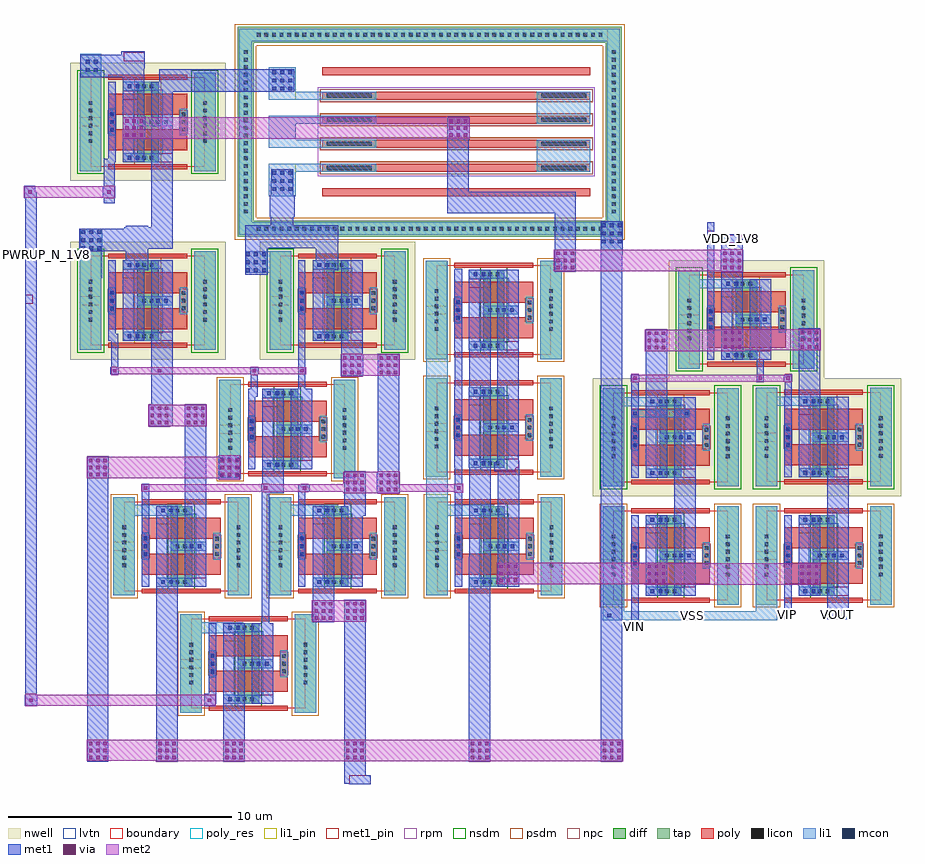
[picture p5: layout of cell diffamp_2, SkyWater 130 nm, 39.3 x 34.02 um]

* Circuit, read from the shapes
.subckt diffamp_2 PWRUP_1V8 PWRUP_N_1V8 VDD_1V8 VIN VIP VOUT VSS
XM1 GM_cell_N_5/LELOATR_LVT_NCH_2C5F0_2/D GM_cell_N_5/LELOATR_LVT_NCH_2C5F0_1/D VSS VSS sky130_fd_pr__nfet_01v8_lvt w=0.96 l=0.94 m=2
XM2 GM_cell_N_5/LELOATR_LVT_NCH_2C5F0_1/D PWRUP_N_1V8 VSS VSS sky130_fd_pr__nfet_01v8_lvt w=0.96 l=0.94 m=2
XM3 GM_cell_N_5/LELOATR_LVT_NCH_2C5F0_2/D GM_cell_N_5/LELOATR_LVT_NCH_2C5F0_2/D GM_cell_N_5/LELOATR_LVT_NCH_2C5F0_1/D VSS sky130_fd_pr__nfet_01v8_lvt w=0.96 l=0.94 m=2
XM4 GM_cell_N_5/LELOATR_LVT_NCH_2C5F0_1/D GM_cell_N_5/LELOATR_LVT_NCH_2C5F0_1/D VSS VSS sky130_fd_pr__nfet_01v8_lvt w=0.96 l=0.94 m=2
XM5 GM_cell_N_5/IBN GM_cell_N_5/LELOATR_LVT_NCH_2C5F0_1/D VSS VSS sky130_fd_pr__nfet_01v8_lvt w=0.96 l=0.94 m=6
XM6 LELOATR_LVT_NCH_2C5F0_0/D VIN GM_cell_N_5/IBN VSS sky130_fd_pr__nfet_01v8_lvt w=0.96 l=0.94 m=2
XM7 VOUT VIP GM_cell_N_5/IBN VSS sky130_fd_pr__nfet_01v8_lvt w=0.96 l=0.94 m=2
XM8 GM_cell_N_5/LELOATR_LVT_NCH_2C5F0_2/D GM_cell_N_5/LELOATR_LVT_NCH_2C5F0_2/D GM_cell_N_5/LELOATR_LVT_PCH_2C5F0_10/B GM_cell_N_5/LELOATR_LVT_PCH_2C5F0_10/B sky130_fd_pr__pfet_01v8_lvt w=0.96 l=0.94 m=2
XM9 GM_cell_N_5/LELOATR_LVT_PCH_2C5F0_10/B PWRUP_N_1V8 VDD_1V8 VDD_1V8 sky130_fd_pr__pfet_01v8_lvt w=0.96 l=0.94 m=2
XM10 GM_cell_N_5/LELOATR_LVT_NCH_2C5F0_1/D GM_cell_N_5/LELOATR_LVT_NCH_2C5F0_2/D GM_cell_N_5/LELOATR_LVT_PCH_2C5F0_8/B GM_cell_N_5/LELOATR_LVT_PCH_2C5F0_8/B sky130_fd_pr__pfet_01v8_lvt w=0.96 l=0.94 m=2
XM11 LELOATR_LVT_NCH_2C5F0_0/D LELOATR_LVT_NCH_2C5F0_0/D VDD_1V8 VDD_1V8 sky130_fd_pr__pfet_01v8_lvt w=0.96 l=0.94 m=2
XM12 LELOATR_LVT_NCH_2C5F0_0/D PWRUP_1V8 VDD_1V8 VDD_1V8 sky130_fd_pr__pfet_01v8_lvt w=0.96 l=0.94 m=2
XM13 VOUT LELOATR_LVT_NCH_2C5F0_0/D VDD_1V8 VDD_1V8 sky130_fd_pr__pfet_01v8_lvt w=0.96 l=0.94 m=2
XR14 n1 GM_cell_N_5/LELOATR_LVT_PCH_2C5F0_8/B VSS sky130_fd_pr__res_high_po w=0.36 l=7.24
XR15 n1 n2 VSS sky130_fd_pr__res_high_po w=0.36 l=7.24
XR16 n3 n2 VSS sky130_fd_pr__res_high_po w=0.36 l=7.24
XR17 n3 GM_cell_N_5/LELOATR_LVT_PCH_2C5F0_10/B VSS sky130_fd_pr__res_high_po w=0.36 l=7.24
.ends

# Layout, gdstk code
from math import pi, radians
import gdstk
lib = gdstk.Library(unit=1e-6, precision=1e-09)
def R(c, l, rs):  # rectangles x0, y0, x1, y1
    for r in rs: c.add(gdstk.rectangle(r[:2], r[2:], *l))
def A(c, l, x, y, w, h, nx, ny, dx, dy):  # array of equal rectangles
    R(c, l, [(x+i*dx, y+j*dy, x+i*dx+w, y+j*dy+h) for i in range(nx) for j in range(ny)])
nwell = (64, 20)
diff = (65, 20)
tap = (65, 44)
poly_res = (66, 13)
poly = (66, 20)
licon = (66, 44)
li1_pin = (67, 16)
li1 = (67, 20)
mcon = (67, 44)
met1_pin = (68, 16)
met1 = (68, 20)
via = (68, 44)
met2 = (69, 20)
rpm = (86, 20)
nsdm = (93, 44)
psdm = (94, 20)
npc = (95, 20)
lvtn = (125, 44)
boundary = (235, 4)

leloatr_lvt_nch_2c5f0 = lib.new_cell('LELOATR_LVT_NCH_2C5F0')
R(leloatr_lvt_nch_2c5f0, diff, [(2.08,0.2,3.04,3.8)])
R(leloatr_lvt_nch_2c5f0, tap, [(-0.48,-0.2,0.48,4.2), (4.64,-0.2,5.6,4.2)])
R(leloatr_lvt_nch_2c5f0, poly, [(0.8,-0.11,4.32,0.11), (0.8,0.73,4.32,1.67), (0.8,1.67,1.12,2.33), (4,1.67,4.32,2.33), (0.8,2.33,4.32,3.27), (0.8,3.89,4.32,4.11)])
A(leloatr_lvt_nch_2c5f0, licon, 2.305, 0.315, 0.17, 0.17, 1, 3, 0, 1.6)
A(leloatr_lvt_nch_2c5f0, licon, 2.645, 0.315, 0.17, 0.17, 1, 3, 0, 1.6)
A(leloatr_lvt_nch_2c5f0, licon, -0.085, 1.065, 0.17, 0.17, 1, 6, 0, 0.34)
A(leloatr_lvt_nch_2c5f0, licon, 5.035, 1.065, 0.17, 0.17, 1, 6, 0, 0.34)
A(leloatr_lvt_nch_2c5f0, licon, 0.875, 1.575, 0.17, 0.17, 1, 3, 0, 0.34)
A(leloatr_lvt_nch_2c5f0, licon, 4.075, 1.575, 0.17, 0.17, 1, 3, 0, 0.34)
R(leloatr_lvt_nch_2c5f0, li1_pin, [(-0.48,1.8,0.48,2.2)])
R(leloatr_lvt_nch_2c5f0, li1, [(-0.48,-0.2,0.48,4.2), (4.64,-0.2,5.6,4.2), (1.44,0.2,3.04,0.6), (0.8,1.4,1.12,2.6), (4,1.4,4.32,2.6), (2.08,1.8,3.68,2.2), (1.44,3.4,3.04,3.8)])
A(leloatr_lvt_nch_2c5f0, mcon, 0.875, 1.555, 0.17, 0.17, 1, 3, 0, 0.36)
R(leloatr_lvt_nch_2c5f0, mcon, [(1.655,0.315,1.825,0.485), (2.015,0.315,2.185,0.485), (2.935,1.915,3.105,2.085), (3.295,1.915,3.465,2.085), (1.655,3.515,1.825,3.685), (2.015,3.515,2.185,3.685)])
R(leloatr_lvt_nch_2c5f0, met1_pin, [(2.72,0.2,3.68,0.6), (0.8,1.8,1.12,2.2), (1.44,3,2.4,3.4)])
R(leloatr_lvt_nch_2c5f0, met1, [(0.8,0.2,1.12,3.8), (1.44,0.2,2.4,3.8), (2.72,0.2,3.68,3.8)])
R(leloatr_lvt_nch_2c5f0, nsdm, [(1.955,0.075,3.165,3.925)])
R(leloatr_lvt_nch_2c5f0, psdm, [(-0.605,-0.325,0.605,4.325), (4.515,-0.325,5.725,4.325)])
R(leloatr_lvt_nch_2c5f0, npc, [(0.775,1.475,1.145,2.525), (3.975,1.475,4.345,2.525)])
R(leloatr_lvt_nch_2c5f0, lvtn, [(1.9,0.55,3.22,3.45)])
R(leloatr_lvt_nch_2c5f0, boundary, [(0,0,5.12,4)])
leloatr_lvt_nch_2c5f0.add(gdstk.Label('D', (3.2,0.4), layer=68, texttype=5))
leloatr_lvt_nch_2c5f0.add(gdstk.Label('G', (0.96,2), layer=68, texttype=5))
leloatr_lvt_nch_2c5f0.add(gdstk.Label('S', (1.92,3.2), layer=68, texttype=5))
leloatr_lvt_nch_2c5f0.add(gdstk.Label('B', (0,2), layer=67, texttype=5))

leloatr_lvt_pch_2c5f0 = lib.new_cell('LELOATR_LVT_PCH_2C5F0')
R(leloatr_lvt_pch_2c5f0, nwell, [(-0.92,-0.64,6.04,4.64)])
R(leloatr_lvt_pch_2c5f0, diff, [(2.08,0.2,3.04,3.8)])
R(leloatr_lvt_pch_2c5f0, tap, [(-0.48,-0.2,0.48,4.2), (4.64,-0.2,5.6,4.2)])
R(leloatr_lvt_pch_2c5f0, poly, [(0.8,-0.11,4.32,0.11), (0.8,0.73,4.32,1.67), (0.8,1.67,1.12,2.33), (4,1.67,4.32,2.33), (0.8,2.33,4.32,3.27), (0.8,3.89,4.32,4.11)])
A(leloatr_lvt_pch_2c5f0, licon, 2.305, 0.315, 0.17, 0.17, 1, 3, 0, 1.6)
A(leloatr_lvt_pch_2c5f0, licon, 2.645, 0.315, 0.17, 0.17, 1, 3, 0, 1.6)
A(leloatr_lvt_pch_2c5f0, licon, -0.085, 1.065, 0.17, 0.17, 1, 6, 0, 0.34)
A(leloatr_lvt_pch_2c5f0, licon, 5.035, 1.065, 0.17, 0.17, 1, 6, 0, 0.34)
A(leloatr_lvt_pch_2c5f0, licon, 0.875, 1.575, 0.17, 0.17, 1, 3, 0, 0.34)
A(leloatr_lvt_pch_2c5f0, licon, 4.075, 1.575, 0.17, 0.17, 1, 3, 0, 0.34)
R(leloatr_lvt_pch_2c5f0, li1_pin, [(-0.48,1.8,0.48,2.2)])
R(leloatr_lvt_pch_2c5f0, li1, [(-0.48,-0.2,0.48,4.2), (4.64,-0.2,5.6,4.2), (1.44,0.2,3.04,0.6), (0.8,1.4,1.12,2.6), (4,1.4,4.32,2.6), (2.08,1.8,3.68,2.2), (1.44,3.4,3.04,3.8)])
A(leloatr_lvt_pch_2c5f0, mcon, 0.875, 1.555, 0.17, 0.17, 1, 3, 0, 0.36)
R(leloatr_lvt_pch_2c5f0, mcon, [(1.655,0.315,1.825,0.485), (2.015,0.315,2.185,0.485), (2.935,1.915,3.105,2.085), (3.295,1.915,3.465,2.085), (1.655,3.515,1.825,3.685), (2.015,3.515,2.185,3.685)])
R(leloatr_lvt_pch_2c5f0, met1_pin, [(2.72,0.2,3.68,0.6), (0.8,1.8,1.12,2.2), (1.44,3,2.4,3.4)])
R(leloatr_lvt_pch_2c5f0, met1, [(0.8,0.2,1.12,3.8), (1.44,0.2,2.4,3.8), (2.72,0.2,3.68,3.8)])
R(leloatr_lvt_pch_2c5f0, nsdm, [(-0.605,-0.325,0.605,4.325), (4.515,-0.325,5.725,4.325)])
R(leloatr_lvt_pch_2c5f0, psdm, [(1.955,0.075,3.165,3.925)])
R(leloatr_lvt_pch_2c5f0, npc, [(0.775,1.475,1.145,2.525), (3.975,1.475,4.345,2.525)])
R(leloatr_lvt_pch_2c5f0, lvtn, [(1.9,0.55,3.22,3.45)])
R(leloatr_lvt_pch_2c5f0, boundary, [(0,0,5.12,4)])
leloatr_lvt_pch_2c5f0.add(gdstk.Label('D', (3.2,0.4), layer=68, texttype=5))
leloatr_lvt_pch_2c5f0.add(gdstk.Label('G', (0.96,2), layer=68, texttype=5))
leloatr_lvt_pch_2c5f0.add(gdstk.Label('S', (1.92,3.2), layer=68, texttype=5))
leloatr_lvt_pch_2c5f0.add(gdstk.Label('B', (0,2), layer=67, texttype=5))

jnwtr_res4 = lib.new_cell('JNWTR_RES4')
A(jnwtr_res4, poly_res, 0.9, 1.72, 0.36, 7.36, 4, 1, 1.08, 0)
A(jnwtr_res4, poly, -0.18, -0.6, 0.36, 12, 6, 1, 1.08, 0)
A(jnwtr_res4, licon, 0.985, -0.4, 0.19, 2, 4, 2, 1.08, 9.6)
R(jnwtr_res4, li1_pin, [(-0.18,12.6,1.26,13.8), (4.14,12.6,5.58,13.8)])
A(jnwtr_res4, li1, 0.9, 9, 0.36, 3.6, 4, 1, 1.08, 0)
A(jnwtr_res4, li1, -0.18, 12.6, 1.44, 1.2, 3, 1, 2.16, 0)
R(jnwtr_res4, li1, [(0.9,-0.6,2.34,1.8), (3.06,-0.6,4.5,1.8)])
R(jnwtr_res4, rpm, [(0.7,-0.8,4.7,11.6)])
A(jnwtr_res4, psdm, 0.79, -0.71, 0.58, 12.22, 4, 1, 1.08, 0)
A(jnwtr_res4, npc, 0.805, -0.695, 0.55, 12.19, 4, 1, 1.08, 0)
R(jnwtr_res4, boundary, [(0,0,5.4,13.2)])
jnwtr_res4.add(gdstk.Label('N', (0.54,13.2), layer=67, texttype=5))
jnwtr_res4.add(gdstk.Label('P', (4.86,13.2), layer=67, texttype=5))

jnwtr_rppo4 = lib.new_cell('JNWTR_RPPO4')
R(jnwtr_rppo4, tap, [(0,0,9.4,0.72), (0,0.72,0.72,16.48), (8.68,0.72,9.4,16.48), (0,16.48,9.4,17.2)])
A(jnwtr_rppo4, licon, 1.045, 0.275, 0.17, 0.17, 22, 2, 0.34, 16.48)
A(jnwtr_rppo4, licon, 0.275, 0.865, 0.17, 0.17, 1, 46, 0, 0.34)
A(jnwtr_rppo4, licon, 8.955, 0.865, 0.17, 0.17, 1, 46, 0, 0.34)
R(jnwtr_rppo4, li1_pin, [(0.08,0.08,9.32,0.64), (1.82,14.6,3.26,15.8), (6.14,14.6,7.58,15.8)])
R(jnwtr_rppo4, li1, [(0.08,0.08,9.32,0.64), (0.08,0.64,0.64,16.56), (8.76,0.64,9.32,16.56), (1.82,14.6,3.26,15.8), (6.14,14.6,7.58,15.8), (0.08,16.56,9.32,17.12)])
R(jnwtr_rppo4, psdm, [(-0.125,-0.125,9.525,0.845), (-0.125,0.845,0.845,16.355), (8.555,0.845,9.525,16.355), (-0.125,16.355,9.525,17.325)])
R(jnwtr_rppo4, boundary, [(0,0,9.4,17.2)])
jnwtr_rppo4.add(gdstk.Reference(jnwtr_res4, (2,2)))
jnwtr_rppo4.add(gdstk.Label('P', (6.86,15.2), layer=67, texttype=5))
jnwtr_rppo4.add(gdstk.Label('N', (2.54,15.2), layer=67, texttype=5))
jnwtr_rppo4.add(gdstk.Label('B', (4.7,0.36), layer=67, texttype=5))

gm_cell_n = lib.new_cell('GM_cell_N')
R(gm_cell_n, li1, [(24.5,31.25,26.75,31.75), (34.95,36.38,35.91,36.5), (21.5,36.5,24,37), (28.5,36.5,31,37), (34.95,36.5,38,37), (34.95,37,35.91,47.9), (25.69,38.19,26.59,39.15), (19.45,47.15,20.45,49.35), (26.87,47.38,28.9,48.34), (42.75,48.4,43.75,49.65), (28.03,51.03,28.97,51.97), (28.03,55.53,28.97,56.47), (19.45,56.15,20.4,57.2)])
A(gm_cell_n, mcon, 25.695, 38.225, 0.17, 0.17, 3, 3, 0.36, 0.36)
A(gm_cell_n, mcon, 26.875, 47.415, 0.17, 0.17, 3, 3, 0.36, 0.36)
A(gm_cell_n, mcon, 19.505, 48.405, 0.17, 0.17, 3, 3, 0.36, 0.36)
A(gm_cell_n, mcon, 42.805, 48.705, 0.17, 0.17, 3, 3, 0.36, 0.36)
A(gm_cell_n, mcon, 28.055, 51.055, 0.17, 0.17, 3, 3, 0.36, 0.36)
A(gm_cell_n, mcon, 28.055, 55.555, 0.17, 0.17, 3, 3, 0.36, 0.36)
R(gm_cell_n, mcon, [(19.71,56.385,19.88,56.555), (20.07,56.385,20.24,56.555), (19.71,56.745,19.88,56.915), (20.07,56.745,20.24,56.915)])
R(gm_cell_n, met1_pin, [(31.5,24.5,32.46,24.9), (38,38.5,38.96,38.9), (17,46,17.32,46.4), (21.4,56.85,22.35,57.25)])
R(gm_cell_n, met1, [(31.5,24.5,32.46,24.52), (31.27,24.52,32.46,24.9), (31.27,24.9,32.23,32.76), (22.86,25.49,23.82,34.66), (25.86,25.49,26.82,29.41), (36.86,25.49,37.82,34.66), (42.77,25.49,43.73,48.15), (19.78,25.5,20.72,38.16), (25,27.97,25.5,28.53), (16.97,28,17.53,28.5), (17,28.5,17.5,50.72), (27.59,31.34,27.91,37.52), (29.86,31.74,30.82,34.66), (36.87,35.22,37.83,47.41), (24.14,35.98,25.1,41.51), (38.14,35.98,39.1,38.5), (29.22,36.04,29.54,37.59), (36.23,36.1,36.55,37.55), (31.27,36.52,32.23,38.51), (22.22,36.66,22.54,37.94), (27.59,37.52,28.57,37.59), (32.74,37.52,33.76,38.48), (36.2,37.55,36.6,37.95), (27.56,37.59,28.57,37.91), (29.22,37.59,29.69,37.6), (29.22,37.6,29.73,37.92), (27.61,37.91,28.57,39.91), (36.23,37.95,36.55,47.56), (25.66,38.13,26.62,38.16), (19.77,38.16,20.73,39.18), (25.63,38.16,26.65,39.18), (32.77,38.48,33.73,43.76), (38,38.5,39.1,38.9), (38.14,38.9,39.1,38.98), (25.66,39.18,26.62,39.21), (22.52,40.49,23.48,40.52), (22.52,40.52,23.6,41.51), (38.13,40.77,39.09,47.46), (22.64,41.51,23.6,45.48), (27.09,41.84,27.41,42.84), (29.22,41.84,29.54,44.66), (31.11,42.77,32.13,43.73), (20.81,42.84,21.19,43.16), (27.06,42.84,27.44,43.16), (20.84,43.16,21.16,44.66), (31.14,43.73,32.1,45.3), (26.845,47.295,27.86,47.32), (26.84,47.32,27.86,48.4), (21.5,47.5,22.5,48.35), (30,47.5,31,48.495), (42.75,48.15,43.75,49.7), (19.42,48.35,22.5,48.47), (26.845,48.4,27.86,48.495), (19.42,48.47,23.6,49.35), (26.845,48.495,31.005,49.51), (21.42,49.35,23.6,49.43), (21.5,49.43,22.5,49.5), (22.64,49.43,23.6,53.58), (27.985,49.51,29,49.9), (27.95,49.9,29.05,50.85), (20.5,50.5,21,50.75), (16.95,50.72,17.5,51), (20.47,50.75,21.03,51.25), (27.985,50.85,29,51.485), (16.95,51,17.45,51.28), (20.5,51.25,21,52.5), (28,51.485,29,52.03), (21.36,54.42,22.32,56.15), (23,55.5,29.03,56.5), (19.45,56.15,22.32,56.55), (19.45,56.55,22.35,57.15), (21.3,57.15,22.35,57.3)])
A(gm_cell_n, via, 19.855, 25.605, 0.15, 0.15, 3, 3, 0.32, 0.32)
A(gm_cell_n, via, 22.945, 25.605, 0.15, 0.15, 3, 3, 0.32, 0.32)
A(gm_cell_n, via, 25.945, 25.605, 0.15, 0.15, 3, 3, 0.32, 0.32)
A(gm_cell_n, via, 31.355, 25.605, 0.15, 0.15, 3, 3, 0.32, 0.32)
A(gm_cell_n, via, 36.945, 25.605, 0.15, 0.15, 3, 3, 0.32, 0.32)
A(gm_cell_n, via, 42.855, 25.605, 0.15, 0.15, 3, 3, 0.32, 0.32)
A(gm_cell_n, via, 29.945, 31.855, 0.15, 0.15, 3, 3, 0.32, 0.32)
A(gm_cell_n, via, 31.355, 31.855, 0.15, 0.15, 3, 3, 0.32, 0.32)
A(gm_cell_n, via, 31.355, 37.605, 0.15, 0.15, 3, 3, 0.32, 0.32)
A(gm_cell_n, via, 32.855, 37.605, 0.15, 0.15, 3, 3, 0.32, 0.32)
A(gm_cell_n, via, 19.855, 38.275, 0.15, 0.15, 3, 3, 0.32, 0.32)
A(gm_cell_n, via, 25.745, 38.275, 0.15, 0.15, 3, 3, 0.32, 0.32)
A(gm_cell_n, via, 22.605, 40.605, 0.15, 0.15, 3, 3, 0.32, 0.32)
A(gm_cell_n, via, 24.225, 40.605, 0.15, 0.15, 3, 3, 0.32, 0.32)
A(gm_cell_n, via, 31.225, 42.855, 0.15, 0.15, 3, 3, 0.32, 0.32)
A(gm_cell_n, via, 32.855, 42.855, 0.15, 0.15, 3, 3, 0.32, 0.32)
R(gm_cell_n, via, [(17.175,28.175,17.325,28.325), (25.175,28.175,25.325,28.325), (22.305,37.675,22.455,37.825), (27.675,37.675,27.825,37.825), (29.425,37.675,29.575,37.825), (36.325,37.675,36.475,37.825), (20.925,42.925,21.075,43.075), (22.925,42.925,23.075,43.075), (27.175,42.925,27.325,43.075), (29.305,42.925,29.455,43.075), (17.125,50.925,17.275,51.075), (20.675,50.925,20.825,51.075)])
R(gm_cell_n, met2, [(22.83,25.52,43.76,25.53), (19.75,25.53,43.76,26.47), (22.83,26.47,43.76,26.48), (17,27.97,17.5,28), (17,28,25.53,28.5), (17,28.5,17.5,28.53), (29.83,31.77,32.26,32.73), (32.77,37.49,33.73,37.52), (31.24,37.52,33.73,37.59), (36.2,37.55,36.6,37.59), (27.59,37.56,27.91,37.59), (29.34,37.56,29.66,37.59), (22.19,37.59,36.6,37.91), (27.59,37.91,27.91,37.94), (29.34,37.91,29.66,37.94), (31.24,37.91,33.73,38.48), (36.2,37.91,36.6,37.95), (25.66,38.13,26.62,38.19), (19.74,38.19,26.62,39.15), (32.77,38.48,33.73,38.51), (25.66,39.15,26.62,39.21), (22.49,40.52,25.13,41.48), (31.14,42.74,32.1,42.77), (31.14,42.77,33.76,43.73), (20.84,42.81,21.16,42.84), (27.09,42.81,27.41,42.84), (20.84,42.84,29.57,43.16), (20.84,43.16,21.16,43.19), (27.09,43.16,27.41,43.19), (31.14,43.73,32.1,43.76), (20.5,50.72,21,50.75), (16.92,50.75,21,51.25), (20.5,51.25,21,51.28)])
gm_cell_n.add(gdstk.Reference(jnwtr_rppo4, (43.7,49), rotation=pi/2))
gm_cell_n.add(gdstk.Reference(leloatr_lvt_nch_2c5f0, (24.42,27.89)))
gm_cell_n.add(gdstk.Reference(leloatr_lvt_nch_2c5f0, (21.42,33.14)))
gm_cell_n.add(gdstk.Reference(leloatr_lvt_nch_2c5f0, (28.42,33.14)))
gm_cell_n.add(gdstk.Reference(leloatr_lvt_nch_2c5f0, (26.17,38.39)))
gm_cell_n.add(gdstk.Reference(leloatr_lvt_nch_2c5f0, (35.43,33.14)))
gm_cell_n.add(gdstk.Reference(leloatr_lvt_nch_2c5f0, (35.41,38.46)))
gm_cell_n.add(gdstk.Reference(leloatr_lvt_nch_2c5f0, (35.41,43.72)))
gm_cell_n.add(gdstk.Reference(leloatr_lvt_pch_2c5f0, (28.42,44.14)))
gm_cell_n.add(gdstk.Reference(leloatr_lvt_pch_2c5f0, (19.92,52.14)))
gm_cell_n.add(gdstk.Reference(leloatr_lvt_pch_2c5f0, (19.92,44.14)))
gm_cell_n.add(gdstk.Label('VDD_1V8', (21.875,57.05), layer=68, texttype=5))
gm_cell_n.add(gdstk.Label('IBN', (38.48,38.7), layer=68, texttype=5))
gm_cell_n.add(gdstk.Label('VSS', (31.98,24.7), layer=68, texttype=5))
gm_cell_n.add(gdstk.Label('PWRUP_N_1V8', (17.16,46.2), layer=68, texttype=5))

diffamp_2 = lib.new_cell('diffamp_2')
R(diffamp_2, li1_pin, [(-4.46,51.35,-3.5,51.75)])
R(diffamp_2, li1, [(-7.98,51.35,-0.17,51.75), (-7.98,51.75,-7.02,53), (-1.13,51.75,-0.17,53), (-6.7,60.44,-4.1,60.76), (-7.06,60.93,-5.98,61.33), (-0.28,60.94,0.88,61.34), (-3.73,66.21,-2.55,66.61)])
R(diffamp_2, mcon, [(-7.775,51.465,-7.605,51.635), (-6.625,60.515,-6.455,60.685), (-4.315,60.515,-4.145,60.685)])
R(diffamp_2, met1_pin, [(-6.7,50.88,-6.38,51.28), (0.15,51.39,0.47,51.79), (2.07,51.39,3.03,51.79), (-33.69,67.52,-33.37,67.92), (-2.69,68.21,-1.73,68.61), (-3.3,68.76,-2.98,69.16)])
R(diffamp_2, met1, [(-6.7,50.88,-6.38,52.76), (-7.89,51.29,-7.49,51.81), (0.15,51.39,0.47,52.78), (2.07,51.39,3.03,53.4), (-6.06,52.91,-5.1,53.93), (0.78,52.91,1.74,53.93), (-12.69,52.93,-11.73,53.95), (2.075,54.825,3.025,58.835), (-4.78,55.14,-3.82,58.79), (-6.06,59.53,-5.1,64.38), (0.79,59.8,1.75,64.41), (-4.39,60.38,-4.07,60.82), (-6.7,60.41,-6.38,60.79), (-6.7,60.94,-6.38,62.02), (0.16,60.98,0.48,62.02), (-1.09,61.99,-0.77,63.31), (-6.73,62.02,-6.35,62.34), (0.13,62.02,0.51,62.34), (-2.66,63.39,-1.7,64.41), (-2.67,64.97,-1.71,66.97), (-3.31,65.75,-2.99,68.76), (-10.14,66.94,-9.18,69.56), (-2.7,66.97,-1.68,67.93), (-33.69,67.52,-33.37,67.92), (-2.67,67.93,-1.71,68.21), (-2.69,68.21,-1.71,68.61), (-2.67,68.61,-1.71,68.62), (-3.31,68.76,-2.98,68.79), (-3.3,68.79,-2.98,69.16), (-14.95,69.56,-9.18,70.52), (-14.95,70.52,-13.99,72.87), (-29.445,72.865,-28.47,73.9), (-14.95,72.87,-13.94,73.87), (-14.93,73.87,-13.97,73.89)])
A(diffamp_2, via, -5.975, 53.025, 0.15, 0.15, 3, 3, 0.32, 0.32)
A(diffamp_2, via, 0.865, 53.025, 0.15, 0.15, 3, 3, 0.32, 0.32)
A(diffamp_2, via, -12.605, 53.045, 0.15, 0.15, 3, 3, 0.32, 0.32)
A(diffamp_2, via, -5.975, 63.475, 0.15, 0.15, 3, 3, 0.32, 0.32)
A(diffamp_2, via, -2.575, 63.505, 0.15, 0.15, 3, 3, 0.32, 0.32)
A(diffamp_2, via, 0.875, 63.505, 0.15, 0.15, 3, 3, 0.32, 0.32)
A(diffamp_2, via, -10.055, 67.055, 0.15, 0.15, 3, 3, 0.32, 0.32)
A(diffamp_2, via, -2.585, 67.055, 0.15, 0.15, 3, 3, 0.32, 0.32)
A(diffamp_2, via, -29.355, 72.985, 0.15, 0.15, 3, 3, 0.32, 0.32)
A(diffamp_2, via, -14.845, 72.985, 0.15, 0.15, 3, 3, 0.32, 0.32)
R(diffamp_2, via, [(-6.615,62.105,-6.465,62.255), (-1.005,62.105,-0.855,62.255), (0.245,62.105,0.395,62.255)])
R(diffamp_2, met2, [(-6.09,52.94,1.77,52.96), (-12.72,52.96,1.77,53.9), (-12.72,53.9,-5.08,53.92), (-6.7,61.99,-6.38,62.02), (0.16,61.99,0.48,62.02), (-6.7,62.02,0.48,62.34), (-6.7,62.34,-6.38,62.37), (0.16,62.34,0.48,62.37), (-6.09,63.39,-1.63,63.42), (-6.09,63.42,1.78,64.35), (-2.69,64.35,1.78,64.38), (-2.67,66.94,-1.71,66.97), (-10.17,66.97,-1.71,67.93), (-2.67,67.93,-1.71,67.96), (-29.475,72.895,-13.96,72.9), (-29.475,72.9,-13.94,73.86), (-29.475,73.86,-13.96,73.87)])
diffamp_2.add(gdstk.Reference(leloatr_lvt_nch_2c5f0, (-7.5,52.24)))
diffamp_2.add(gdstk.Reference(leloatr_lvt_nch_2c5f0, (-0.65,52.24)))
diffamp_2.add(gdstk.Reference(leloatr_lvt_pch_2c5f0, (-7.5,57.53)))
diffamp_2.add(gdstk.Reference(leloatr_lvt_pch_2c5f0, (-0.65,57.54)))
diffamp_2.add(gdstk.Reference(leloatr_lvt_pch_2c5f0, (-4.11,62.81)))
diffamp_2.add(gdstk.Reference(gm_cell_n, (-50.83,19.51)))
diffamp_2.add(gdstk.Label('VDD_1V8', (-2.21,68.41), layer=68, texttype=5))
diffamp_2.add(gdstk.Label('VIN', (-6.54,51.08), layer=68, texttype=5))
diffamp_2.add(gdstk.Label('VIP', (0.31,51.59), layer=68, texttype=5))
diffamp_2.add(gdstk.Label('VOUT', (2.55,51.59), layer=68, texttype=5))
diffamp_2.add(gdstk.Label('VSS', (-3.98,51.55), layer=67, texttype=5))
diffamp_2.add(gdstk.Label('PWRUP_1V8', (-3.14,68.96), layer=68, texttype=5))
diffamp_2.add(gdstk.Label('PWRUP_N_1V8', (-33.53,67.72), layer=68, texttype=5))

lib.write_gds('diffamp_2.gds')
